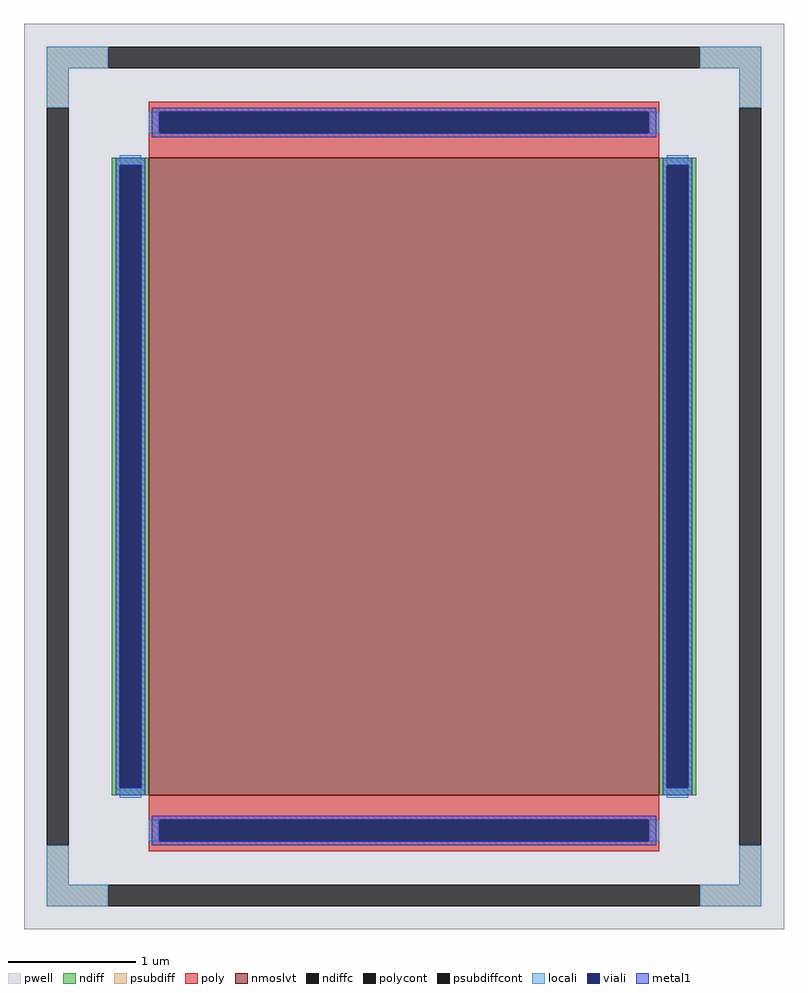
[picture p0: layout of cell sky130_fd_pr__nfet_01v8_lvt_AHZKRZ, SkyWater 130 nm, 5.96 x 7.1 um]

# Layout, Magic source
magic
tech sky130A
<< pwell >>
rect -298 -355 298 355
<< nmoslvt >>
rect -200 -250 200 250
<< ndiff >>
rect -229 244 -200 250
rect -229 -244 -223 244
rect -206 -244 -200 244
rect -229 -250 -200 -244
rect 200 244 229 250
rect 200 -244 206 244
rect 223 -244 229 244
rect 200 -250 229 -244
<< ndiffc >>
rect -223 -244 -206 244
rect 206 -244 223 244
<< psubdiff >>
rect -280 320 -232 337
rect 232 320 280 337
rect -280 289 -263 320
rect 263 289 280 320
rect -280 -320 -263 -289
rect 263 -320 280 -289
rect -280 -337 -232 -320
rect 232 -337 280 -320
<< psubdiffcont >>
rect -232 320 232 337
rect -280 -289 -263 289
rect 263 -289 280 289
rect -232 -337 232 -320
<< poly >>
rect -200 286 200 294
rect -200 269 -192 286
rect 192 269 200 286
rect -200 250 200 269
rect -200 -269 200 -250
rect -200 -286 -192 -269
rect 192 -286 200 -269
rect -200 -294 200 -286
<< polycont >>
rect -192 269 192 286
rect -192 -286 192 -269
<< locali >>
rect -280 320 -232 337
rect 232 320 280 337
rect -280 289 -263 320
rect 263 289 280 320
rect -200 269 -192 286
rect 192 269 200 286
rect -223 244 -206 252
rect -223 -252 -206 -244
rect 206 244 223 252
rect 206 -252 223 -244
rect -200 -286 -192 -269
rect 192 -286 200 -269
rect -280 -320 -263 -289
rect 263 -320 280 -289
rect -280 -337 -232 -320
rect 232 -337 280 -320
<< viali >>
rect -192 269 192 286
rect -223 -244 -206 244
rect 206 -244 223 244
rect -192 -286 192 -269
<< metal1 >>
rect -198 286 198 289
rect -198 269 -192 286
rect 192 269 198 286
rect -198 266 198 269
rect -226 244 -203 250
rect -226 -244 -223 244
rect -206 -244 -203 244
rect -226 -250 -203 -244
rect 203 244 226 250
rect 203 -244 206 244
rect 223 -244 226 244
rect 203 -250 226 -244
rect -198 -269 198 -266
rect -198 -286 -192 -269
rect 192 -286 198 -269
rect -198 -289 198 -286
<< properties >>
string FIXED_BBOX -271 -328 271 328
string gencell sky130_fd_pr__nfet_01v8_lvt
string library sky130
string parameters w 5.0 l 4.0 m 1 nf 1 diffcov 100 polycov 100 guard 1 glc 1 grc 1 gtc 1 gbc 1 tbcov 100 rlcov 100 topc 1 botc 1 poverlap 0 doverlap 1 lmin 0.15 wmin 0.42 compatible {sky130_fd_pr__nfet_01v8 sky130_fd_pr__nfet_01v8_lvt  sky130_fd_bs_flash__special_sonosfet_star  sky130_fd_pr__nfet_g5v0d10v5 sky130_fd_pr__nfet_05v0_nvt  sky130_fd_pr__nfet_03v3_nvt} full_metal 1 viasrc 100 viadrn 100 viagate 100 viagb 0 viagr 0 viagl 0 viagt 0
<< end >>
